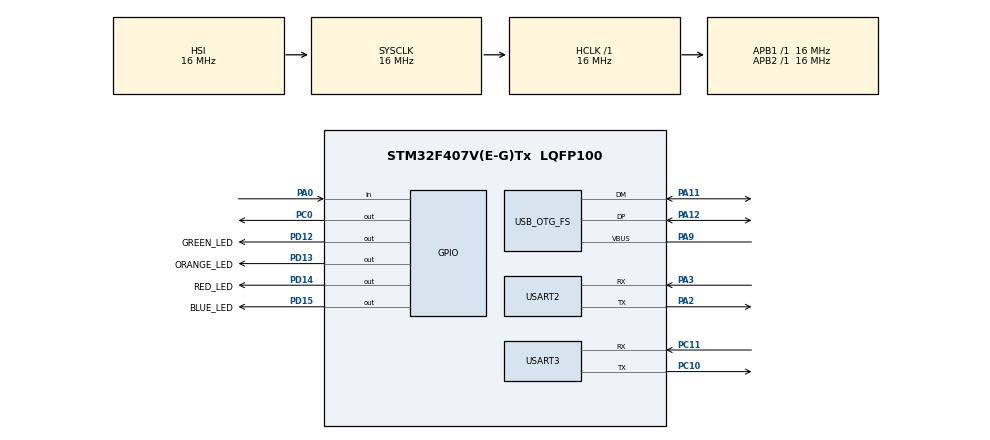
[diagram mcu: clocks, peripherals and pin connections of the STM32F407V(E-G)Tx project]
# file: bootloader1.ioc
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Mcu.Family=STM32F4
Mcu.Name=STM32F407V(E-G)Tx
Mcu.Package=LQFP100
NVIC.OTG_FS_IRQn=true\:0\:0\:false\:false\:true\:false\:true
NVIC.PriorityGroup=NVIC_PRIORITYGROUP_4
PA0-WKUP.Signal=GPIO_Input
PA11.Mode=Host_Only
PA11.Signal=USB_OTG_FS_DM
PA12.Mode=Host_Only
PA12.Signal=USB_OTG_FS_DP
PA13.Mode=Serial_Wire
PA13.Signal=SYS_JTMS-SWDIO
PA14.Mode=Serial_Wire
PA14.Signal=SYS_JTCK-SWCLK
PA2.Mode=Asynchronous
PA2.Signal=USART2_TX
PA3.Mode=Asynchronous
PA3.Signal=USART2_RX
PA9.Mode=Activate_VBUS
PA9.Signal=USB_OTG_FS_VBUS
PC0.Signal=GPIO_Output
PC10.Mode=Asynchronous
PC10.Signal=USART3_TX
PC11.Mode=Asynchronous
PC11.Signal=USART3_RX
PD12.GPIO_Label=GREEN_LED
PD12.Signal=GPIO_Output
PD13.GPIO_Label=ORANGE_LED
PD13.Signal=GPIO_Output
PD14.GPIO_Label=RED_LED
PD14.Signal=GPIO_Output
PD15.GPIO_Label=BLUE_LED
PD15.Signal=GPIO_Output
PH0-OSC_IN.Mode=HSE-External-Oscillator
PH0-OSC_IN.Signal=RCC_OSC_IN
PH1-OSC_OUT.Mode=HSE-External-Oscillator
PH1-OSC_OUT.Signal=RCC_OSC_OUT
ProjectManager.HeapSize=0x200
ProjectManager.StackSize=0x800
ProjectManager.TargetToolchain=STM32CubeIDE
RCC.48MHZClocksFreq_Value=48000000
RCC.AHBFreq_Value=16000000
RCC.APB1Freq_Value=16000000
RCC.APB2Freq_Value=16000000
RCC.CortexFreq_Value=16000000
RCC.HSE_VALUE=8000000
RCC.HSI_VALUE=16000000
RCC.LSE_VALUE=32768
RCC.PLLM=4
RCC.PLLN=72
RCC.PLLQ=3
RCC.SYSCLKFreq_VALUE=16000000
RCC.VCOOutputFreq_Value=144000000
USART2.VirtualMode=VM_ASYNC
USART3.VirtualMode=VM_ASYNC
USB_HOST.BSP.number=1
USB_HOST.USBH_HandleTypeDef-MSC_FS=hUsbHostFS
USB_HOST.VirtualModeFS=Msc
USB_HOST0.BSP.STBoard=false
USB_HOST0.BSP.api=Unknown
USB_HOST0.BSP.i2caddr=0
USB_HOST0.BSP.instance=PC0
USB_HOST0.BSP.ip=GPIO
USB_HOST0.BSP.mode=Output
USB_HOST0.BSP.name=Drive_VBUS_FS
USB_HOST0.BSP.solution=PC0
USB_OTG_FS.VirtualMode=Host_Only
USB_OTG_FS.phy_itface=HCD_PHY_EMBEDDED
VP_FATFS_VS_USB.Mode=USB
VP_USB_HOST_VS_USB_HOST_MSC_FS.Mode=MSC_FS
board=custom

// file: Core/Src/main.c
/* USER CODE BEGIN Header */
/**
  ******************************************************************************
  * @file           : main.c
  * @brief          : Main program body
  ******************************************************************************
  * @attention
  *
  * <h2><center>&copy; Copyright (c) 2021 STMicroelectronics.
  * All rights reserved.</center></h2>
  *
  * This software component is licensed by ST under BSD 3-Clause license,
  * the "License"; You may not use this file except in compliance with the
  * License. You may obtain a copy of the License at:
  *                        opensource.org/licenses/BSD-3-Clause
  *
  ******************************************************************************
  */
/* USER CODE END Header */
#include "main.h"
#include "fatfs.h"
#include "usb_host.h"

/* USER CODE BEGIN Includes */
#include <string.h>
#include <stdbool.h>
#include <stdio.h>
#include <stdlib.h>
#include "menu.h"
/* USER CODE END Includes */

/* USER CODE BEGIN PTD */
extern pFunction JumpToApplication;
extern uint32_t JumpAddress;

/* USER CODE END PTD */

/* USER CODE BEGIN PM */
extern char USBHPath[4];   /* USBH logical drive path */
FATFS myUsbFatFS;

FIL myFile;
FRESULT res;
UINT byteswritten, bytesread;
char rwtext[100];
char msg[100];
unsigned int x;
unsigned char pointer,hexBuffer[0xFF];
bool startPacket,newPacket;
void CopyAppToUserMemory(void);
void debug(char *text);
/* USER CODE END PM */

UART_HandleTypeDef huart2;
UART_HandleTypeDef huart3;

/* USER CODE BEGIN PV */
extern ApplicationTypeDef Appli_state;

// fatfs variable

/* USER CODE END PV */

void SystemClock_Config(void);
static void MX_GPIO_Init(void);
static void MX_USART2_UART_Init(void);
static void MX_USART3_UART_Init(void);
void MX_USB_HOST_Process(void);

/* USER CODE BEGIN PFP */

#define APP_BLOCK_TRANSFER_SIZE 512
#define SIZE_OF_U32 4

#define FLASH_PAGE_SIZE		2048 						//2 Kbyte per page
#define FLASH_START_ADDR	0x08000000					//Origin
#define FLASH_MAX_SIZE		0x00080000					//Max FLASH size - 512 Kbyte
#define FLASH_END_ADDR		(FLASH_START_ADDR + FLASH_MAX_SIZE)		//FLASH end address
#define FLASH_BOOT_START_ADDR	(FLASH_START_ADDR)				//Bootloader start address
#define FLASH_BOOT_SIZE		0x00020000					//64 Kbyte for bootloader
						//	0x08010000
#define FLASH_USER_START_ADDR	(FLASH_BOOT_START_ADDR + FLASH_BOOT_SIZE)	//User application start address
#define FLASH_USER_SIZE		0x00032000					//200 Kbyte for user application
#define FLASH_MSD_START_ADDR	(FLASH_USER_START_ADDR + FLASH_USER_SIZE)	//USB MSD start address
#define FLASH_MSD_SIZE		0x00032000					//200 Kbyte for USB MASS Storage
#define FLASH_OTHER_START_ADDR	(FLASH_MSD_START_ADDR + FLASH_MSD_SIZE)		//Other free memory start address
#define FLASH_OTHER_SIZE	(FLASH_END_ADDR - FLASH_OTHER_START_ADDR)	//Free memory size

/* USER CODE END PFP */

/* USER CODE BEGIN 0 */
char msg[100];

uint32_t appSize;
unsigned char appBuffer[512];
unsigned int readBytes;
unsigned int i;
unsigned char programmed = 0;
/* USER CODE END 0 */

int main(void)
{

  /* MCU Configuration--------------------------------------------------------*/

  /* Reset of all peripherals, Initializes the Flash interface and the Systick. */
  HAL_Init();

  /* Configure the system clock */
  SystemClock_Config();

  /* Initialize all configured peripherals */
  MX_GPIO_Init();
  MX_USART2_UART_Init();
  MX_FATFS_Init();
  MX_USB_HOST_Init();
  MX_USART3_UART_Init();
  /* USER CODE BEGIN 2 */
  programmed=0;
  debug("\r\n\r\n");
  debug("##############################################\r\n");
  debug("#             STM32f4 BootLoader             #\r\n");
  debug("##############################################\r\n");
  debug("\r\n");
  //printf("Bootloader ...");
  /* Check PA0 Input */

  if (HAL_GPIO_ReadPin(GPIOA, GPIO_PIN_0) != GPIO_PIN_SET)
  {
	  debug("Jumping to the application address:");

	  // jump to the application
	  if (((*(__IO uint32_t*)FLASH_USER_START_ADDR) & 0x2FFD0000 ) == 0x20000000)
	  {
		  sprintf(msg,"%d",FLASH_USER_START_ADDR);
		  debug(msg);
			// Jump to user application
			JumpAddress = *(__IO uint32_t*) (FLASH_USER_START_ADDR + 4);

			JumpToApplication = (pFunction) JumpAddress;
			// Initialize user application's Stack Pointer
			__set_MSP(*(__IO uint32_t*) FLASH_USER_START_ADDR);
			JumpToApplication();
		}
	  debug("\r\n");
  }
  else
  {
	  debug("Programming Mode ... \r\n");
	  //HAL_UART_Transmit(&huart2,(unsigned char*)msg,strlen(msg),100);
	  bool mountCheck;

	  mountCheck = false;

	  while(1)
	  {
		  	MX_USB_HOST_Process();

		  	switch(Appli_state)
			{
				case APPLICATION_IDLE:
					break;
				case APPLICATION_START:
					if(f_mount(&myUsbFatFS, (TCHAR const*)USBHPath, 0) != FR_OK)
					{
						/* FatFs Initialization Error */
						//Error_Handler();
						if(mountCheck == false)
						{
							debug("failed to mount ..\r\n");
							mountCheck = true;
						}
					}
					else
					{
						HAL_GPIO_WritePin(GREEN_LED_GPIO_Port, GREEN_LED_Pin, GPIO_PIN_SET);
						if(mountCheck == false)
						{
							debug("drive mounted ..\r\n");
							mountCheck = true;
						}
					}

					break;
				case APPLICATION_READY:
					//use here

					if(f_open(&myFile, "BLINK.BIN", FA_READ) == FR_OK)
					{
						debug("file opened ..\r\n");
						appSize = f_size(&myFile);

						debug("file size : ");
						sprintf(msg,"%d",appSize);
						debug(msg);
						debug("\r\n");

						for(i = 0; i < appSize; i++) //Byte-to-byte compare files in MSD_MEM and USER_MEM
						{
							f_read(&myFile, &appBuffer, 1, &readBytes);
							if(*((volatile uint8_t*)(USER_START_ADDRESS + i)) != appBuffer[0])
							{
								//if byte of USER_MEM != byte of MSD_MEM
								break;
							}
						}
						if(i != appSize)//=> was done "break" instruction in for(;;) cycle => new firmware in MSD_FLASH
						{
							debug("copying bin file in to memory ..\r\n");
							CopyAppToUserMemory();
							debug("App installed\r\n");
						}
						f_close(&myFile);
						debug("closing file\r\n");
						programmed=1;
						//FATFS_Status = f_mount(NULL, "0", 1);
						//PeriphDeInit();
						//GoToUserApp();
					}
					else
					{
						debug("error opening file ..\r\n");
					}
				case APPLICATION_DISCONNECT:
					// if the pendrive is in disconnected state
					debug("disconnecting drive ..\r\n");
					HAL_GPIO_WritePin(GREEN_LED_GPIO_Port,GREEN_LED_Pin,GPIO_PIN_RESET);
					break;

			}

		  	if (programmed != 0)
		  	{
		  		debug("exiting programming mode ..\r\n");
		  		break;
		  	}

	  }

  }
  /*
  if (HAL_GPIO_ReadPin(GPIOA, GPIO_PIN_0) != GPIO_PIN_SET)
  {
	//
	if (((*(__IO uint32_t*)USER_START_ADDRESS) & 0x2FFD0000 ) == 0x20000000)
	{
		// Jump to user application
		JumpAddress = *(__IO uint32_t*) (USER_START_ADDRESS + 4);
		JumpToApplication = (pFunction) JumpAddress;
		// Initialize user application's Stack Pointer
		__set_MSP(*(__IO uint32_t*) USER_START_ADDRESS);
		JumpToApplication();
	}

  }
  else
  {
	FLASH_If_Init();
	Main_Menu ();
	MX_USB_HOST_Process();
  }
  */
  /* USER CODE END 2 */

  /* Infinite loop */
  /* USER CODE BEGIN WHILE */

  debug("running wait loop ..\r\n");
  while (1)
  {
	if(programmed == 0)
		HAL_GPIO_TogglePin(BLUE_LED_GPIO_Port,BLUE_LED_Pin);
	else
		HAL_GPIO_TogglePin(GREEN_LED_GPIO_Port,GREEN_LED_Pin);
	HAL_Delay(500);
    /* USER CODE END WHILE */
    MX_USB_HOST_Process();

  }
}

void SystemClock_Config(void)
{
  RCC_OscInitTypeDef RCC_OscInitStruct = {0};
  RCC_ClkInitTypeDef RCC_ClkInitStruct = {0};

  /** Configure the main internal regulator output voltage
  */
  __HAL_RCC_PWR_CLK_ENABLE();
  __HAL_PWR_VOLTAGESCALING_CONFIG(PWR_REGULATOR_VOLTAGE_SCALE1);
  /** Initializes the RCC Oscillators according to the specified parameters
  * in the RCC_OscInitTypeDef structure.
  */
  RCC_OscInitStruct.OscillatorType = RCC_OSCILLATORTYPE_HSI|RCC_OSCILLATORTYPE_HSE;
  RCC_OscInitStruct.HSEState = RCC_HSE_ON;
  RCC_OscInitStruct.HSIState = RCC_HSI_ON;
  RCC_OscInitStruct.HSICalibrationValue = RCC_HSICALIBRATION_DEFAULT;
  RCC_OscInitStruct.PLL.PLLState = RCC_PLL_ON;
  RCC_OscInitStruct.PLL.PLLSource = RCC_PLLSOURCE_HSE;
  RCC_OscInitStruct.PLL.PLLM = 4;
  RCC_OscInitStruct.PLL.PLLN = 72;
  RCC_OscInitStruct.PLL.PLLP = RCC_PLLP_DIV2;
  RCC_OscInitStruct.PLL.PLLQ = 3;
  if (HAL_RCC_OscConfig(&RCC_OscInitStruct) != HAL_OK)
  {
    Error_Handler();
  }
  /** Initializes the CPU, AHB and APB buses clocks
  */
  RCC_ClkInitStruct.ClockType = RCC_CLOCKTYPE_HCLK|RCC_CLOCKTYPE_SYSCLK
                              |RCC_CLOCKTYPE_PCLK1|RCC_CLOCKTYPE_PCLK2;
  RCC_ClkInitStruct.SYSCLKSource = RCC_SYSCLKSOURCE_HSI;
  RCC_ClkInitStruct.AHBCLKDivider = RCC_SYSCLK_DIV1;
  RCC_ClkInitStruct.APB1CLKDivider = RCC_HCLK_DIV1;
  RCC_ClkInitStruct.APB2CLKDivider = RCC_HCLK_DIV1;

  if (HAL_RCC_ClockConfig(&RCC_ClkInitStruct, FLASH_LATENCY_0) != HAL_OK)
  {
    Error_Handler();
  }
}

static void MX_USART2_UART_Init(void)
{

  huart2.Instance = USART2;
  huart2.Init.BaudRate = 115200;
  huart2.Init.WordLength = UART_WORDLENGTH_8B;
  huart2.Init.StopBits = UART_STOPBITS_1;
  huart2.Init.Parity = UART_PARITY_NONE;
  huart2.Init.Mode = UART_MODE_TX_RX;
  huart2.Init.HwFlowCtl = UART_HWCONTROL_NONE;
  huart2.Init.OverSampling = UART_OVERSAMPLING_16;
  if (HAL_UART_Init(&huart2) != HAL_OK)
  {
    Error_Handler();
  }

}

static void MX_USART3_UART_Init(void)
{

  huart3.Instance = USART3;
  huart3.Init.BaudRate = 115200;
  huart3.Init.WordLength = UART_WORDLENGTH_8B;
  huart3.Init.StopBits = UART_STOPBITS_1;
  huart3.Init.Parity = UART_PARITY_NONE;
  huart3.Init.Mode = UART_MODE_TX_RX;
  huart3.Init.HwFlowCtl = UART_HWCONTROL_NONE;
  huart3.Init.OverSampling = UART_OVERSAMPLING_16;
  if (HAL_UART_Init(&huart3) != HAL_OK)
  {
    Error_Handler();
  }

}

static void MX_GPIO_Init(void)
{
  GPIO_InitTypeDef GPIO_InitStruct = {0};

  /* GPIO Ports Clock Enable */
  __HAL_RCC_GPIOH_CLK_ENABLE();
  __HAL_RCC_GPIOC_CLK_ENABLE();
  __HAL_RCC_GPIOA_CLK_ENABLE();
  __HAL_RCC_GPIOD_CLK_ENABLE();

  /*Configure GPIO pin Output Level */
  HAL_GPIO_WritePin(GPIOC, GPIO_PIN_0, GPIO_PIN_RESET);

  /*Configure GPIO pin Output Level */
  HAL_GPIO_WritePin(GPIOD, GREEN_LED_Pin|ORANGE_LED_Pin|RED_LED_Pin|BLUE_LED_Pin, GPIO_PIN_RESET);

  /*Configure GPIO pin : PC0 */
  GPIO_InitStruct.Pin = GPIO_PIN_0;
  GPIO_InitStruct.Mode = GPIO_MODE_OUTPUT_PP;
  GPIO_InitStruct.Pull = GPIO_NOPULL;
  GPIO_InitStruct.Speed = GPIO_SPEED_FREQ_LOW;
  HAL_GPIO_Init(GPIOC, &GPIO_InitStruct);

  /*Configure GPIO pin : PA0 */
  GPIO_InitStruct.Pin = GPIO_PIN_0;
  GPIO_InitStruct.Mode = GPIO_MODE_INPUT;
  GPIO_InitStruct.Pull = GPIO_NOPULL;
  HAL_GPIO_Init(GPIOA, &GPIO_InitStruct);

  /*Configure GPIO pins : GREEN_LED_Pin ORANGE_LED_Pin RED_LED_Pin BLUE_LED_Pin */
  GPIO_InitStruct.Pin = GREEN_LED_Pin|ORANGE_LED_Pin|RED_LED_Pin|BLUE_LED_Pin;
  GPIO_InitStruct.Mode = GPIO_MODE_OUTPUT_PP;
  GPIO_InitStruct.Pull = GPIO_NOPULL;
  GPIO_InitStruct.Speed = GPIO_SPEED_FREQ_LOW;
  HAL_GPIO_Init(GPIOD, &GPIO_InitStruct);

}

/* USER CODE BEGIN 4 */

void CopyAppToUserMemory(void)
{
	uint32_t appTailSize,appBodySize,appAddrPointer,j;
	#define APP_BLOCK_TRANSFER_SIZE 512
	#define SIZE_OF_U32 4
	appTailSize = 1024;

	HAL_FLASH_Unlock();

	debug("function: copy use code ....\r\n app size:");
	sprintf(msg,"%d",appSize);
	debug(msg);
	debug("\r\n");

	f_lseek(&myFile, 0); //Go to the fist position of file
	appTailSize = appSize % APP_BLOCK_TRANSFER_SIZE;
	appBodySize = appSize - appTailSize;
	appAddrPointer = 0;

	debug("appTailSize :");
	sprintf(msg,"%d",appTailSize);
	debug(msg);
	debug("\r\n");

	debug("appBodySize :");
	sprintf(msg,"%d",appBodySize);
	debug(msg);
	debug("\r\n");
	/*
	for(i = 0; i < ((appSize / FLASH_PAGE_SIZE) + 1); i++) //Erase n + 1 pages for new application
	{
		//while (FLASH_GetStatus() != HAL_OK);
		//FLASH_ErasePage(FLASH_USER_START_ADDR + i * FLASH_PAGE_SIZE);
		FLASH_If_Erase(FLASH_USER_START_ADDR + i * FLASH_PAGE_SIZE);
	}
	*/
	debug("erasing flash ..");

	FLASH_Erase_Sector(FLASH_SECTOR_5, FLASH_VOLTAGE_RANGE_3);

	for(i = 0; i < appBodySize; i += APP_BLOCK_TRANSFER_SIZE)
	{
		/*
		 * For example, size of File1 = 1030 bytes
		 * File1 = 2 * 512 bytes + 6 bytes
		 * "body" = 2 * 512, "tail" = 6
		 * Let's write "body" and "tail" to MCU FLASH byte after byte with 512-byte blocks
		 */
		f_read(&myFile, appBuffer, APP_BLOCK_TRANSFER_SIZE, &readBytes); //Read 512 byte from file
		for(j = 0; j < APP_BLOCK_TRANSFER_SIZE; j += SIZE_OF_U32) //write 512 byte to FLASH
		{
			//while(FLASH_GetStatus() != FLASH_COMPLETE);
			FLASH_WaitForLastOperation(100);
			//FLASH_ProgramWord(FLASH_USER_START_ADDR + i + j, *((volatile uint32_t*)(appBuffer + j)));
			HAL_FLASH_Program(FLASH_TYPEPROGRAM_WORD,FLASH_USER_START_ADDR + i + j, *((volatile uint32_t*)(appBuffer + j)));
		}
		appAddrPointer += APP_BLOCK_TRANSFER_SIZE; //pointer to current position in FLASH for write
	}
	f_read(&myFile, appBuffer, appTailSize, &readBytes); //Read "tail" that < 512 bytes from file
	while((appTailSize % SIZE_OF_U32) != 0)		//if appTailSize MOD 4 != 0 (seems not possible, but still...)
	{
		appTailSize++;				//increase the tail to a multiple of 4
		appBuffer[appTailSize - 1] = 0xFF;	//and put 0xFF in this tail place
	}
	for(i = 0; i < appTailSize; i += SIZE_OF_U32) //write "tail" to FLASH
	{
		//while(FLASH_GetStatus() != FLASH_COMPLETE);
		FLASH_WaitForLastOperation(100);
	//	FLASH_ProgramWord(FLASH_USER_START_ADDR + appAddrPointer + i, *((volatile uint32_t*)(appBuffer + i)));
		HAL_FLASH_Program(FLASH_TYPEPROGRAM_WORD,FLASH_USER_START_ADDR + appAddrPointer + i, *((volatile uint32_t*)(appBuffer + i)));
	}
	FLASH_WaitForLastOperation(100);
	HAL_FLASH_Lock();
}

void debug(char *text)
{
	//HAL_UART_Transmit(&huart3,text,strlen(text),100);
	HAL_UART_Transmit(&huart3,text,strlen(text),100);
}

/* USER CODE END 4 */

void Error_Handler(void)
{
  __disable_irq();
  while (1)
  {
  }
}

/************************ (C) COPYRIGHT STMicroelectronics *****END OF FILE****/
